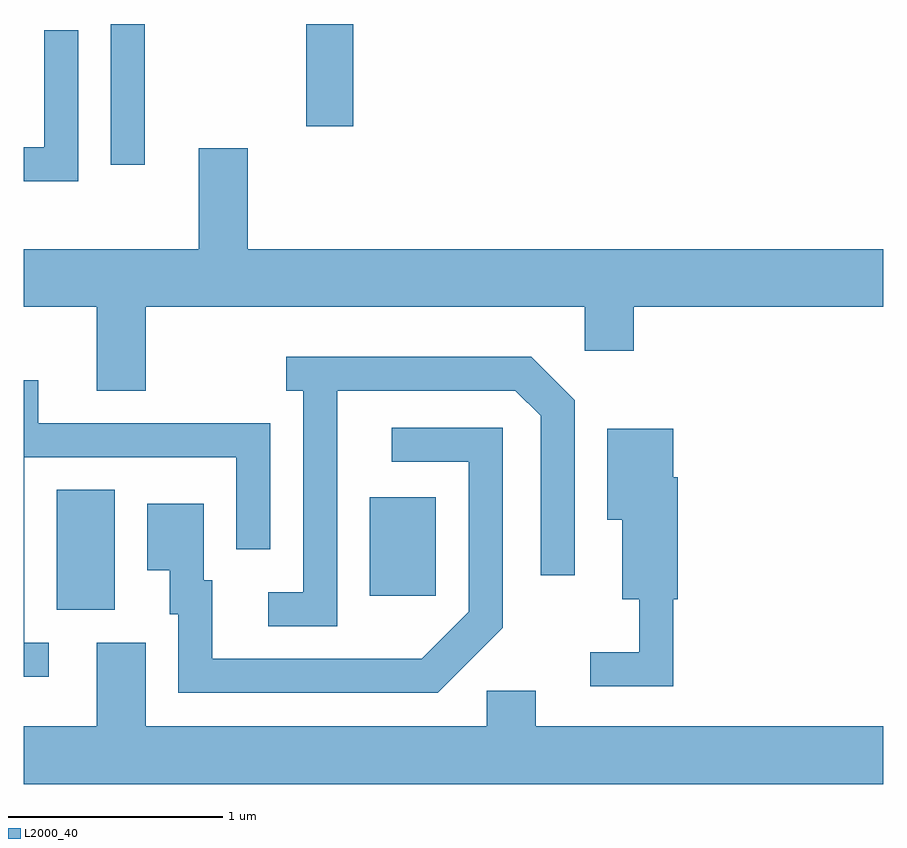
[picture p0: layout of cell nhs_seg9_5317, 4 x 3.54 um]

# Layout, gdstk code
import gdstk
lib = gdstk.Library(unit=1e-6, precision=1e-09)
def R(c, l, rs):  # rectangles x0, y0, x1, y1
    for r in rs: c.add(gdstk.rectangle(r[:2], r[2:], *l))
def P(c, l, *ps):  # polygons
    for p in ps: c.add(gdstk.Polygon(p, *l))
L2000_40 = (2000, 40)

nhs_seg9_5317 = lib.new_cell('nhs_seg9_5317')
R(nhs_seg9_5317, L2000_40, [(341.766,2023.706,342.034,2024.264), (343.221,2023.771,343.529,2024.229), (342.016,2025.778,342.174,2026.432), (342.926,2025.956,343.144,2026.432)])
P(nhs_seg9_5317, L2000_40, [(341.864,2026.403),(341.706,2026.403),(341.706,2025.859),(341.611,2025.859),(341.611,2025.701),(341.864,2025.701)],
  [(342.179,2025.116),(344.221,2025.116),(344.221,2024.911),(344.449,2024.911),(344.449,2025.116),(345.611,2025.116),(345.611,2025.384),(342.654,2025.384),(342.654,2025.854),(342.426,2025.854),(342.426,2025.384),(341.611,2025.384),(341.611,2025.116),(341.951,2025.116),(341.951,2024.726),(342.179,2024.726)],
  [(343.069,2024.726),(343.899,2024.726),(344.016,2024.609),(344.016,2023.868),(344.174,2023.868),(344.174,2024.682),(343.972,2024.884),(342.833,2024.884),(342.833,2024.726),(342.911,2024.726),(342.911,2023.789),(342.748,2023.789),(342.748,2023.631),(343.069,2023.631)],
  [(341.728,2023.554),(341.614,2023.554),(341.614,2024.416),(342.601,2024.416),(342.601,2023.988),(342.759,2023.988),(342.759,2024.574),(341.679,2024.574),(341.679,2024.774),(341.611,2024.774),(341.611,2023.396),(341.728,2023.396)],
  [(343.839,2023.624),(343.839,2024.554),(343.323,2024.554),(343.323,2024.396),(343.681,2024.396),(343.681,2023.697),(343.464,2023.479),(342.489,2023.479),(342.489,2023.844),(342.449,2023.844),(342.449,2024.199),(342.186,2024.199),(342.186,2023.891),(342.291,2023.891),(342.291,2023.686),(342.331,2023.686),(342.331,2023.321),(343.537,2023.321)],
  [(344.634,2023.756),(344.654,2023.756),(344.654,2024.324),(344.634,2024.324),(344.634,2024.549),(344.326,2024.549),(344.326,2024.126),(344.396,2024.126),(344.396,2023.756),(344.476,2023.756),(344.476,2023.509),(344.248,2023.509),(344.248,2023.351),(344.634,2023.351)],
  [(345.611,2023.164),(343.994,2023.164),(343.994,2023.329),(343.766,2023.329),(343.766,2023.164),(342.179,2023.164),(342.179,2023.554),(341.951,2023.554),(341.951,2023.164),(341.611,2023.164),(341.611,2022.896),(345.611,2022.896)])

lib.write_gds('nhs_seg9_5317.gds')
